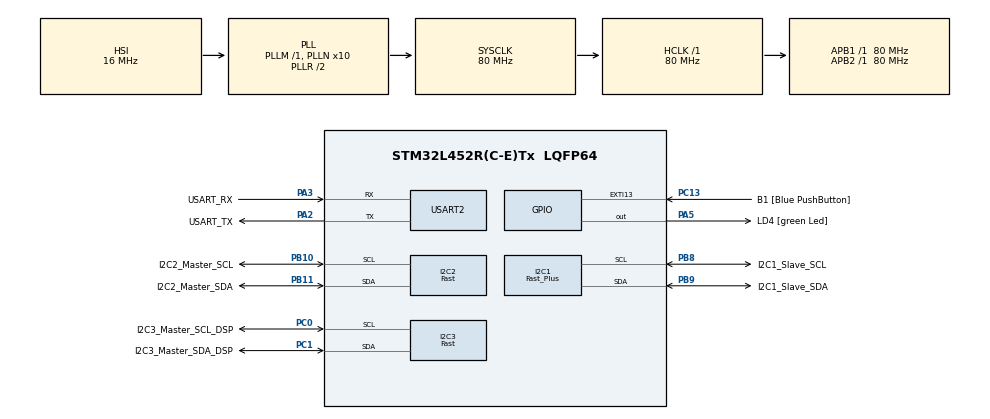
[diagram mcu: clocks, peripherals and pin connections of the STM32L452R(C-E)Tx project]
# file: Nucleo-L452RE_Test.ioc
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I2C1.I2C_Speed_Mode=I2C_Fast_Plus
I2C1.OwnAddress=0x50
I2C1.Timing=0x00300F33
I2C2.I2C_Speed_Mode=I2C_Fast
I2C2.Timing=0x00702991
I2C3.I2C_Speed_Mode=I2C_Fast
I2C3.Timing=0x00702991
Mcu.Family=STM32L4
Mcu.Name=STM32L452R(C-E)Tx
Mcu.Package=LQFP64
NVIC.I2C1_ER_IRQn=true\:0\:0\:false\:false\:true\:true\:true
NVIC.I2C1_EV_IRQn=true\:0\:0\:false\:false\:true\:true\:true
NVIC.PriorityGroup=NVIC_PRIORITYGROUP_4
PA13\ (JTMS/SWDIO).GPIO_Label=TMS
PA13\ (JTMS/SWDIO).Mode=Serial_Wire
PA13\ (JTMS/SWDIO).Signal=SYS_JTMS-SWDIO
PA14\ (JTCK/SWCLK).GPIO_Label=TCK
PA14\ (JTCK/SWCLK).Mode=Serial_Wire
PA14\ (JTCK/SWCLK).Signal=SYS_JTCK-SWCLK
PA2.GPIO_Label=USART_TX
PA2.GPIO_Mode=GPIO_MODE_AF_PP
PA2.GPIO_PuPd=GPIO_NOPULL
PA2.GPIO_Speed=GPIO_SPEED_FREQ_VERY_HIGH
PA2.Mode=Asynchronous
PA2.Signal=USART2_TX
PA3.GPIO_Label=USART_RX
PA3.GPIO_Mode=GPIO_MODE_AF_PP
PA3.GPIO_PuPd=GPIO_NOPULL
PA3.GPIO_Speed=GPIO_SPEED_FREQ_VERY_HIGH
PA3.Mode=Asynchronous
PA3.Signal=USART2_RX
PA5.GPIO_Label=LD4 [green Led]
PA5.GPIO_ModeDefaultOutputPP=GPIO_MODE_OUTPUT_PP
PA5.GPIO_PuPd=GPIO_NOPULL
PA5.GPIO_Speed=GPIO_SPEED_FREQ_LOW
PA5.Signal=GPIO_Output
PB10.GPIO_Label=I2C2_Master_SCL
PB10.Mode=I2C
PB10.Signal=I2C2_SCL
PB11.GPIO_Label=I2C2_Master_SDA
PB11.Mode=I2C
PB11.Signal=I2C2_SDA
PB3\ (JTDO/TRACESWO).GPIO_Label=SWO
PB3\ (JTDO/TRACESWO).Signal=SYS_JTDO-SWO
PB8.GPIO_FM8=__NULL
PB8.GPIO_Label=I2C1_Slave_SCL
PB8.Mode=I2C
PB8.Signal=I2C1_SCL
PB9.GPIO_Label=I2C1_Slave_SDA
PB9.Mode=I2C
PB9.Signal=I2C1_SDA
PC0.GPIO_Label=I2C3_Master_SCL_DSP
PC0.Mode=I2C
PC0.Signal=I2C3_SCL
PC1.GPIO_Label=I2C3_Master_SDA_DSP
PC1.Mode=I2C
PC1.Signal=I2C3_SDA
PC13.GPIO_Label=B1 [Blue PushButton]
PC13.GPIO_ModeDefaultEXTI=GPIO_MODE_IT_FALLING
PC13.GPIO_PuPd=GPIO_NOPULL
PC13.Signal=GPXTI13
PC14-OSC32_IN\ (PC14).Mode=LSE-External-Oscillator
PC14-OSC32_IN\ (PC14).Signal=RCC_OSC32_IN
PC15-OSC32_OUT\ (PC15).Mode=LSE-External-Oscillator
PC15-OSC32_OUT\ (PC15).Signal=RCC_OSC32_OUT
PH0-OSC_IN\ (PH0).Signal=RCC_OSC_IN
PH1-OSC_OUT\ (PH1).Signal=RCC_OSC_OUT
ProjectManager.HeapSize=0x200
ProjectManager.StackSize=0x400
ProjectManager.TargetToolchain=STM32CubeIDE
RCC.ADCFreq_Value=64000000
RCC.AHBFreq_Value=80000000
RCC.APB1Freq_Value=80000000
RCC.APB1TimFreq_Value=80000000
RCC.APB2Freq_Value=80000000
RCC.APB2TimFreq_Value=80000000
RCC.CortexFreq_Value=80000000
RCC.HCLKFreq_Value=80000000
RCC.HSE_VALUE=8000000
RCC.HSI48_VALUE=48000000
RCC.HSI_VALUE=16000000
RCC.MSI_VALUE=4000000
RCC.PLLN=10
RCC.PLLSourceVirtual=RCC_PLLSOURCE_HSI
RCC.PREFETCH_ENABLE=1
RCC.SYSCLKFreq_VALUE=80000000
RCC.SYSCLKSource=RCC_SYSCLKSOURCE_PLLCLK
RCC.USBFreq_Value=64000000
RCC.VCOOutputFreq_Value=160000000
USART2.VirtualMode-Asynchronous=VM_ASYNC
board=NUCLEO-L452RE

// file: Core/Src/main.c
/* USER CODE BEGIN Header */
/**
  ******************************************************************************
  * @file           : main.c
  * @brief          : Main program body
  ******************************************************************************
  * @attention
  *
  * <h2><center>&copy; Copyright (c) 2021 STMicroelectronics.
  * All rights reserved.</center></h2>
  *
  * This software component is licensed by ST under BSD 3-Clause license,
  * the "License"; You may not use this file except in compliance with the
  * License. You may obtain a copy of the License at:
  *                        opensource.org/licenses/BSD-3-Clause
  *
  ******************************************************************************
  */
/* USER CODE END Header */
#include "main.h"
#include "i2c.h"
#include "usart.h"
#include "gpio.h"

/* USER CODE BEGIN Includes */
#include <string.h>
#include <stdio.h>
/* USER CODE END Includes */

void SystemClock_Config(void);
/* USER CODE BEGIN PFP */
void I2C_Master_Test(void);
void UART_Test(void);
/* USER CODE END PFP */

int main(void)
{

  /* MCU Configuration--------------------------------------------------------*/

  /* Reset of all peripherals, Initializes the Flash interface and the Systick. */
  HAL_Init();

  /* Configure the system clock */
  SystemClock_Config();

  /* Initialize all configured peripherals */
  MX_GPIO_Init();
  MX_USART2_UART_Init();
  MX_I2C1_Init();
  MX_I2C2_Init();
  MX_I2C3_Init();
  /* USER CODE BEGIN 2 */
  I2C_Master_Test();
  /* USER CODE END 2 */

  /* Infinite loop */
  /* USER CODE BEGIN WHILE */
  while (1)
  {
    UART_Test();
    /* USER CODE END WHILE */

  }
}

void SystemClock_Config(void)
{
  RCC_OscInitTypeDef RCC_OscInitStruct = {0};
  RCC_ClkInitTypeDef RCC_ClkInitStruct = {0};

  /** Configure the main internal regulator output voltage
  */
  if (HAL_PWREx_ControlVoltageScaling(PWR_REGULATOR_VOLTAGE_SCALE1) != HAL_OK)
  {
    Error_Handler();
  }
  /** Initializes the RCC Oscillators according to the specified parameters
  * in the RCC_OscInitTypeDef structure.
  */
  RCC_OscInitStruct.OscillatorType = RCC_OSCILLATORTYPE_HSI;
  RCC_OscInitStruct.HSIState = RCC_HSI_ON;
  RCC_OscInitStruct.HSICalibrationValue = RCC_HSICALIBRATION_DEFAULT;
  RCC_OscInitStruct.PLL.PLLState = RCC_PLL_ON;
  RCC_OscInitStruct.PLL.PLLSource = RCC_PLLSOURCE_HSI;
  RCC_OscInitStruct.PLL.PLLM = 1;
  RCC_OscInitStruct.PLL.PLLN = 10;
  RCC_OscInitStruct.PLL.PLLP = RCC_PLLP_DIV7;
  RCC_OscInitStruct.PLL.PLLQ = RCC_PLLQ_DIV2;
  RCC_OscInitStruct.PLL.PLLR = RCC_PLLR_DIV2;
  if (HAL_RCC_OscConfig(&RCC_OscInitStruct) != HAL_OK)
  {
    Error_Handler();
  }
  /** Initializes the CPU, AHB and APB buses clocks
  */
  RCC_ClkInitStruct.ClockType = RCC_CLOCKTYPE_HCLK|RCC_CLOCKTYPE_SYSCLK
                              |RCC_CLOCKTYPE_PCLK1|RCC_CLOCKTYPE_PCLK2;
  RCC_ClkInitStruct.SYSCLKSource = RCC_SYSCLKSOURCE_PLLCLK;
  RCC_ClkInitStruct.AHBCLKDivider = RCC_SYSCLK_DIV1;
  RCC_ClkInitStruct.APB1CLKDivider = RCC_HCLK_DIV1;
  RCC_ClkInitStruct.APB2CLKDivider = RCC_HCLK_DIV1;

  if (HAL_RCC_ClockConfig(&RCC_ClkInitStruct, FLASH_LATENCY_4) != HAL_OK)
  {
    Error_Handler();
  }
}

/* USER CODE BEGIN 4 */
void I2C_Master_Test(void)
{
    HAL_StatusTypeDef ret;
    uint8_t i2c_rx_buffer[16]={0}, i2c_tx_buffer[16]={0}, register_addr[1];

    /* Random read */
    register_addr[0] = 0x00;
    ret = I2CM_RandomRead(&hi2c3, (uint16_t)0xA0, (uint8_t *)register_addr, (uint8_t *)i2c_rx_buffer, 16);
    if(ret != HAL_OK)
    {
      Error_Handler();
    }
    /* Current address read */
    ret = I2CM_CurrentAddrRead(&hi2c3, (uint16_t)0xA0, (uint8_t *)i2c_rx_buffer, 16);
    if(ret != HAL_OK)
    {
      Error_Handler();
    }
    /* Sequential bytes write */
    // Write 0x03 to PageSelect(0x7F)
    i2c_tx_buffer[0] = 0x7F;
    i2c_tx_buffer[1] = 0x03;
    ret = I2CM_SequentialBytesWrite(&hi2c3, (uint16_t)0xA0, (uint8_t *)i2c_tx_buffer, 2);
    if(ret != HAL_OK)
    {
      Error_Handler();
    }
    HAL_Delay(80);  // HW 6.0: Complete Single or Sequential Write to non-volatile registers timing max = 80ms
    // Read back to check PageSelect(0x7F) = 0x03
    register_addr[0] = 0x7F;
    ret = I2CM_RandomRead(&hi2c3, (uint16_t)0xA0, (uint8_t *)register_addr, (uint8_t *)i2c_rx_buffer, 1);
    if(ret != HAL_OK)
    {
      Error_Handler();
    }
    // Write data to byte 254-255(0xEF-0xFF)
    i2c_tx_buffer[0] = 0xFE;
    i2c_tx_buffer[1] = 0x99;
    i2c_tx_buffer[2] = 0xAA;
    ret = I2CM_SequentialBytesWrite(&hi2c3, (uint16_t)0xA0, (uint8_t *)i2c_tx_buffer, 3);
    if(ret != HAL_OK)
    {
      Error_Handler();
    }
    HAL_Delay(80);
    // Read back to check byte 254-255(0xEF-0xFF) = 0x99 0xAA
    register_addr[0] = 0xFE;
    ret = I2CM_RandomRead(&hi2c3, (uint16_t)0xA0, (uint8_t *)register_addr, (uint8_t *)i2c_rx_buffer, 2);
    if(ret != HAL_OK)
    {
      Error_Handler();
    }
}

void UART_Test(void)
{
    uint8_t uart_buf[32];
    char Uart_Tx_Method_1[32] = "Method_1\r\n";
    char str_buffer[128];

    strcpy((char *)uart_buf, Uart_Tx_Method_1);
    HAL_UART_Transmit(&huart2, uart_buf, strlen((char *)uart_buf), HAL_MAX_DELAY);
    HAL_Delay(1000);
    strcpy((char *)uart_buf, "Method_2\r\n");
    HAL_UART_Transmit(&huart2, uart_buf, strlen((char *)uart_buf), HAL_MAX_DELAY);
    HAL_Delay(1000);
    sprintf(str_buffer, "Method_3: number = 0x%X\r\n", uart_buf[0]);
    HAL_UART_Transmit(&huart2, (uint8_t *)str_buffer, strlen((char *)str_buffer), HAL_MAX_DELAY);
    HAL_Delay(1000);
}
/* USER CODE END 4 */

void Error_Handler(void)
{
  __disable_irq();
  while (1)
  {
  }
}

/************************ (C) COPYRIGHT STMicroelectronics *****END OF FILE****/
